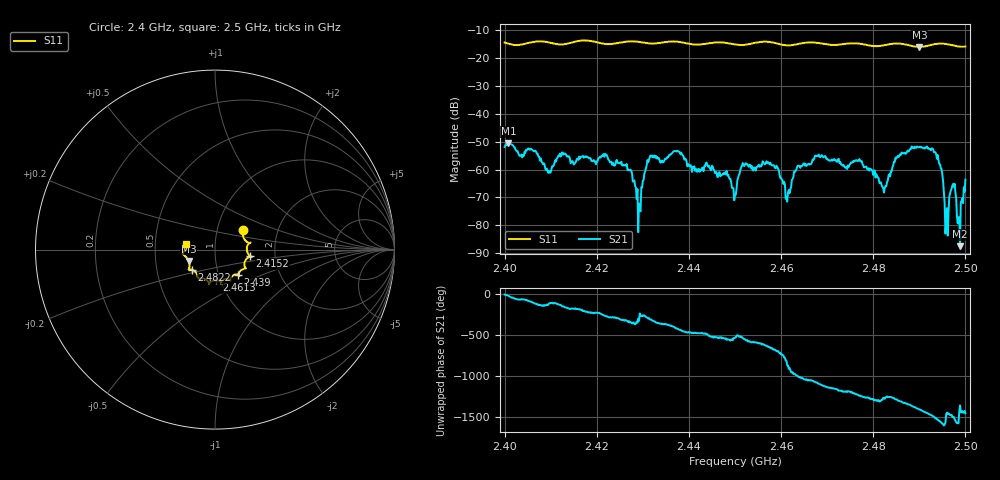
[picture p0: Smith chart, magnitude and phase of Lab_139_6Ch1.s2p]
# Hz S RI R 50
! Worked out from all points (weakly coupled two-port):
!   601 points, 2.4 GHz to 2.5 GHz, reference 50 ohm
!   highest |S21| = -50.52 dB at 2.4008 GHz (marker M1); lowest = -87.5 dB at 2.4988 GHz (marker M2)
!   lowest |S11| = -15.9 dB at 2.49 GHz (marker M3), VSWR 1.38, Z = 36.9 - j4.85 ohm
!   |S11| at or under -10 dB: start of sweep to end of sweep
!   S12 and S22 are empty: the file has one direction only
!   S11 on the Smith chart (normalised r, x): 2.4 GHz: 1.33, +0.31; 2.4152 GHz: 1.48, -0.11; 2.439 GHz: 1.24, -0.36; 2.4613 GHz: 0.96, -0.34; 2.4822 GHz: 0.76, -0.17; 2.5 GHz: 0.72, +0.05
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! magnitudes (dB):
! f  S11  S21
! 2.4 GHz  -14.3  -51.8
! 2.4008 GHz  -14.7  -50.5
! 2.4152 GHz  -14.1  -57.8
! 2.4167 GHz  -13.6  -55.4
! 2.4263 GHz  -14.0  -58.5
! 2.429 GHz  -14.1  -82.5
! 2.4312 GHz  -14.6  -57.3
! 2.4333 GHz  -14.5  -56.1
! 2.439 GHz  -14.4  -56.4
! 2.45 GHz  -15.0  -69.3
! 2.4518 GHz  -15.2  -58.1
! 2.4572 GHz  -14.1  -57.3
! 2.4613 GHz  -15.4  -71.5
! 2.4667 GHz  -14.3  -57.5
! 2.4822 GHz  -15.4  -66.5
! 2.4833 GHz  -15.0  -62.0
! 2.49 GHz  -15.9  -52.0
! 2.494 GHz  -14.8  -54.8
! 2.4958 GHz  -14.9  -79.0
! 2.4973 GHz  -15.4  -65.2
! 2.4988 GHz  -15.8  -87.5
! 2.5 GHz  -15.8  -63.6
